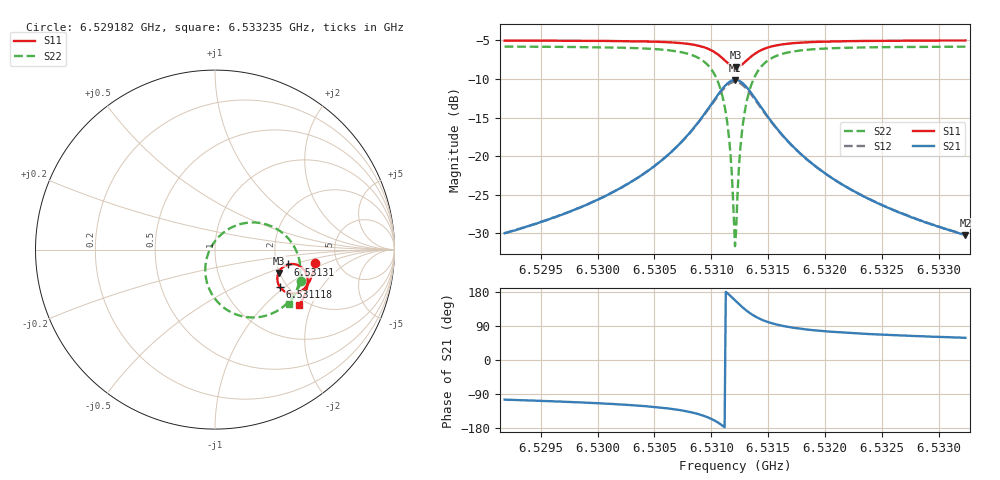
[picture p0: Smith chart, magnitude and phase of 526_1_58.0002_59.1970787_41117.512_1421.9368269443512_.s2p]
#  HZ  S  RI  R  50.00
! Rohde & Schwarz Vector Network Analyzer
! Rohde-Schwarz,ZNB20-2Port,1311601062101988,3.16
! Created: UTC 3/21/2024, 1:13:53 AM
! freq[Hz]  re:S11  im:S11  re:S21  im:S21  re:S12  im:S12  re:S22  im:S22
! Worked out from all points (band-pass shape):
!   401 points, 6.529182 GHz to 6.533235 GHz, reference 50 ohm
!   highest |S21| = -10.11 dB at 6.531209 GHz (marker M1); lowest = -30.2 dB at 6.533235 GHz (marker M2)
!   |S21| within 3 dB of the highest: 6.531008 GHz to 6.531413 GHz (404.9 kHz wide, 0.0062 % of centre)
!   lowest |S11| = -8.5 dB at 6.531219 GHz (marker M3), VSWR 2.21, Z = 98.8 - j29.9 ohm
!   |S11| at or under -10 dB: nowhere
!   |S22| runs from -31.7 to -5.8 dB; largest |S21 - S12| = 0.012
!   S11 on the Smith chart (normalised r, x): 6.529182 GHz: 3.39, -0.71; 6.531118 GHz: 1.83, -0.93; 6.53131 GHz: 2.31, -0.46; 6.533235 GHz: 1.82, -1.64
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6.5291822e9  0.5562 -0.0722  -0.00791 -0.0306  -0.00854 -0.0304  0.4818 -0.1766
6.5298611e9  0.5449 -0.1287  -0.0177 -0.0433  -0.0186 -0.0431  0.4501 -0.2394
6.5302462e9  0.5322 -0.1645  -0.0306 -0.0571  -0.032 -0.0563  0.4163 -0.2845
6.5305401e9  0.5151 -0.1963  -0.0524 -0.0743  -0.0543 -0.0729  0.3672 -0.3283
6.5307731e9  0.4874 -0.2257  -0.0928 -0.0933  -0.0955 -0.0902  0.2855 -0.3676
6.5309454e9  0.4426 -0.2441  -0.1619 -0.0992  -0.1641 -0.0925  0.1584 -0.3728
6.5310467e9  0.3973 -0.2378  -0.232 -0.0717  -0.231 -0.0621  0.0399 -0.3159
6.5311176e9  0.3622 -0.2093  -0.2835 -0.012  -0.2775 -0.00197  -0.0372 -0.2068
6.5311582e9  0.3493 -0.1806  -0.2994 0.042  -0.2901 0.05  -0.0542 -0.115
6.5311987e9  0.3487 -0.1464  -0.294 0.1036  -0.2828 0.1078  -0.0355 -0.015
6.5312088e9  0.3509 -0.1378  -0.2888 0.1187  -0.2775 0.122  -0.0245 0.00874
6.531219e9  0.354 -0.1296  -0.2822 0.1334  -0.2709 0.1355  -0.0111 0.0314
6.5312291e9  0.3579 -0.1217  -0.2741 0.1469  -0.263 0.1483  0.00416 0.0525
6.5312595e9  0.3739 -0.1016  -0.2434 0.1817  -0.2335 0.1804  0.06 0.1045
6.5312798e9  0.3871 -0.0918  -0.2191 0.1984  -0.2104 0.1961  0.1025 0.1281
6.5313102e9  0.4082 -0.083  -0.1813 0.2139  -0.1745 0.2104  0.1673 0.1477
6.5313811e9  0.4524 -0.0834  -0.1043 0.2151  -0.1007 0.2118  0.2963 0.1368
6.5314824e9  0.4904 -0.1066  -0.0384 0.1828  -0.0368 0.1808  0.4032 0.0679
6.5316344e9  0.5119 -0.1436  0.000994 0.1344  0.00197 0.1338  0.4615 -0.0293
6.5318878e9  0.5163 -0.1874  0.0172 0.0876  0.0181 0.0874  0.4758 -0.1277
6.5325667e9  0.497 -0.258  0.0185 0.0418  0.0193 0.0416  0.4471 -0.2443
6.5332355e9  0.4707 -0.3081  0.0161 0.0263  0.0165 0.0261  0.4126 -0.3042
